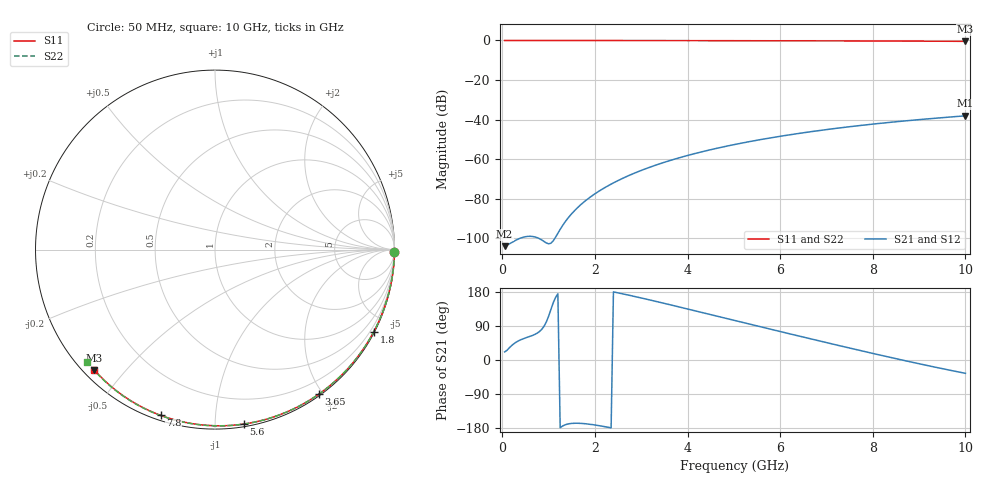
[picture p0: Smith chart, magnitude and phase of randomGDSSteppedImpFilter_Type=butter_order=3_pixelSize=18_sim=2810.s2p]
! freq	dB(S11)	phase(S11)	dB(S12)	phase(S12)
!  dB(S21)	phase(S21)	dB(S22)	phase(S22)
!S-par simulation data
#  GHz  S  DB  R 50
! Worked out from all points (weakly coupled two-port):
!   200 points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, 50 MHz to 10 GHz, reference 50 ohm
!   highest |S21| = -38.11 dB at 10 GHz (marker M1); lowest = -104.0 dB at 50 MHz (marker M2)
!   lowest |S11| = -0.5 dB at 10 GHz (marker M3), VSWR 38.52, Z = 1.52 - j20.6 ohm
!   |S11| at or under -10 dB: nowhere
!   |S22| runs from -0.5 to 0.0 dB; largest |S21 - S12| = 0
!   S11 on the Smith chart (normalised r, x): 50 MHz: open; 1.8 GHz: 0.04, -4.10; 3.65 GHz: 0.02, -1.95; 5.6 GHz: 0.02, -1.18; 7.8 GHz: 0.02, -0.72; 10 GHz: 0.03, -0.41
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0.05  -0.00 -0.8  -104.03 21.3  -104.03 21.3  -0.00 -0.8
0.45  -0.00 -6.9  -99.51 56.0  -99.51 56.0  -0.01 -7.2
0.9  -0.01 -13.8  -101.64 88.7  -101.64 88.7  -0.02 -14.4
1.75  -0.03 -26.6  -81.93 -167.7  -81.93 -167.7  -0.04 -27.7
1.8  -0.03 -27.4  -80.97 -168.3  -80.97 -168.3  -0.04 -28.4
1.85  -0.04 -28.1  -80.06 -169.0  -80.06 -169.0  -0.04 -29.2
2.15  -0.04 -32.6  -75.30 -174.5  -75.30 -174.5  -0.04 -33.8
2.35  -0.04 -35.5  -72.63 -179.1  -72.63 -179.1  -0.05 -36.9
2.55  -0.05 -38.5  -70.26 175.9  -70.26 175.9  -0.05 -39.9
2.95  -0.06 -44.3  -66.18 165.1  -66.18 165.1  -0.06 -46.0
3.4  -0.07 -50.7  -62.36 152.3  -62.36 152.3  -0.07 -52.6
3.65  -0.07 -54.3  -60.51 145.0  -60.51 145.0  -0.08 -56.3
4.3  -0.09 -63.3  -56.35 125.7  -56.35 125.7  -0.09 -65.6
5.05  -0.11 -73.4  -52.46 103.3  -52.46 103.3  -0.12 -76.1
5.6  -0.13 -80.6  -50.04 87.0  -50.04 87.0  -0.14 -83.6
6.15  -0.15 -87.7  -47.91 70.7  -47.91 70.7  -0.16 -90.9
6.7  -0.18 -94.7  -46.01 54.6  -46.01 54.6  -0.19 -98.0
7.25  -0.21 -101.5  -44.32 38.7  -44.32 38.7  -0.22 -105.0
7.8  -0.25 -108.2  -42.81 23.0  -42.81 23.0  -0.26 -111.9
8.35  -0.29 -114.8  -41.45 7.6  -41.45 7.6  -0.30 -118.7
9.2  -0.36 -125.1  -39.62 -15.1  -39.62 -15.1  -0.38 -129.0
10  -0.45 -135.1  -38.11 -35.2  -38.11 -35.2  -0.47 -138.7
